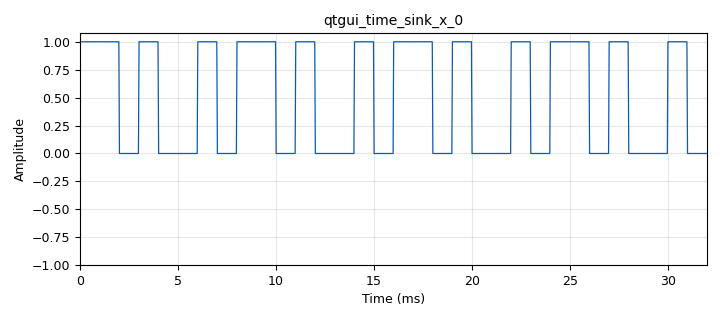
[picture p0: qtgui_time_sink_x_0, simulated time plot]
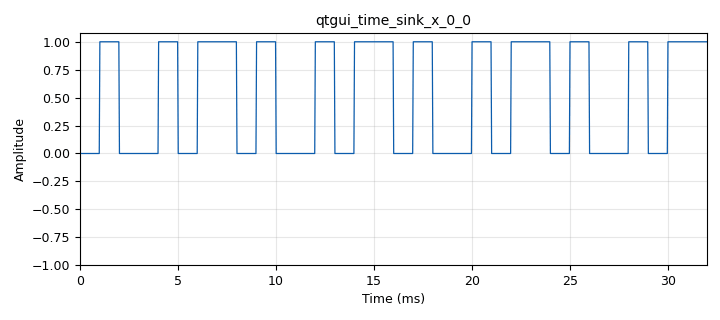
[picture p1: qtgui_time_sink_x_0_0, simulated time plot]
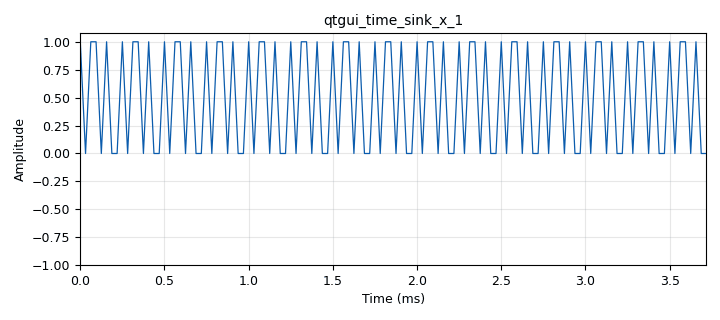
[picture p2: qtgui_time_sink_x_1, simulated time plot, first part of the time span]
options:
  parameters:
    author: John Sylvia
    generate_options: qt_gui
    id: preamble_test
    output_language: python
    title: Preamble Test
  states: {}

blocks:
- name: samp_rate
  id: variable
  parameters:
    value: '32000'
  states: {}
- name: variable_qtgui_range_0
  id: variable_qtgui_range
  parameters:
    start: '0'
    step: '1'
    stop: '1000'
    value: '0'
  states: {}
- name: blocks_char_to_float_0
  id: blocks_char_to_float
  parameters:
    scale: '1'
  states: {}
- name: blocks_char_to_float_0_0
  id: blocks_char_to_float
  parameters:
    scale: '1'
  states: {}
- name: blocks_char_to_float_0_0_0
  id: blocks_char_to_float
  parameters:
    scale: '1'
  states: {}
- name: blocks_delay_0
  id: blocks_delay
  parameters:
    delay: variable_qtgui_range_0
    type: float
  states: {}
- name: blocks_repeat_0
  id: blocks_repeat
  parameters:
    interp: '32'
    type: byte
  states: {}
- name: blocks_repeat_0_0
  id: blocks_repeat
  parameters:
    interp: '32'
    type: byte
  states: {}
- name: blocks_stream_demux_0
  id: blocks_stream_demux
  parameters:
    lengths: (8, 8)
    type: byte
  states: {}
- name: blocks_stream_mux_0
  id: blocks_stream_mux
  parameters:
    lengths: (8, 8)
    type: byte
  states: {}
- name: blocks_vector_source_x_0
  id: blocks_vector_source_x
  parameters:
    repeat: 'True'
    type: byte
    vector: (1, 0, 1, 1, 0, 1, 0, 0)
  states: {}
- name: blocks_vector_source_x_1
  id: blocks_vector_source_x
  parameters:
    repeat: 'True'
    type: byte
    vector: (1, 1, 0, 1, 0, 0, 1, 0)
  states: {}
- name: digital_correlate_access_code_xx_ts_0
  id: digital_correlate_access_code_xx_ts
  parameters:
    access_code: '11010010'
    tagname: preamble
    threshold: '0'
    type: byte
  states: {}
- name: qtgui_time_sink_x_0
  id: qtgui_time_sink_x
  parameters:
    size: '1024'
    srate: samp_rate
    type: float
  states: {}
- name: qtgui_time_sink_x_0_0
  id: qtgui_time_sink_x
  parameters:
    size: '1024'
    srate: samp_rate
    type: float
  states: {}
- name: qtgui_time_sink_x_1
  id: qtgui_time_sink_x
  parameters:
    size: '1024'
    srate: samp_rate
    type: float
  states: {}

connections:
- [blocks_char_to_float_0, '0', blocks_delay_0, '0']
- [blocks_char_to_float_0_0, '0', qtgui_time_sink_x_0_0, '0']
- [blocks_char_to_float_0_0_0, '0', qtgui_time_sink_x_1, '0']
- [blocks_delay_0, '0', qtgui_time_sink_x_0, '0']
- [blocks_repeat_0, '0', blocks_char_to_float_0, '0']
- [blocks_repeat_0_0, '0', blocks_char_to_float_0_0, '0']
- [blocks_stream_demux_0, '0', blocks_char_to_float_0_0_0, '0']
- [blocks_stream_demux_0, '1', blocks_repeat_0_0, '0']
- [blocks_stream_mux_0, '0', digital_correlate_access_code_xx_ts_0, '0']
- [blocks_vector_source_x_0, '0', blocks_repeat_0, '0']
- [blocks_vector_source_x_0, '0', blocks_stream_mux_0, '1']
- [blocks_vector_source_x_1, '0', blocks_stream_mux_0, '0']
- [digital_correlate_access_code_xx_ts_0, '0', blocks_stream_demux_0, '0']

metadata:
  file_format: 1
  grc_version: 3.10.9.2
